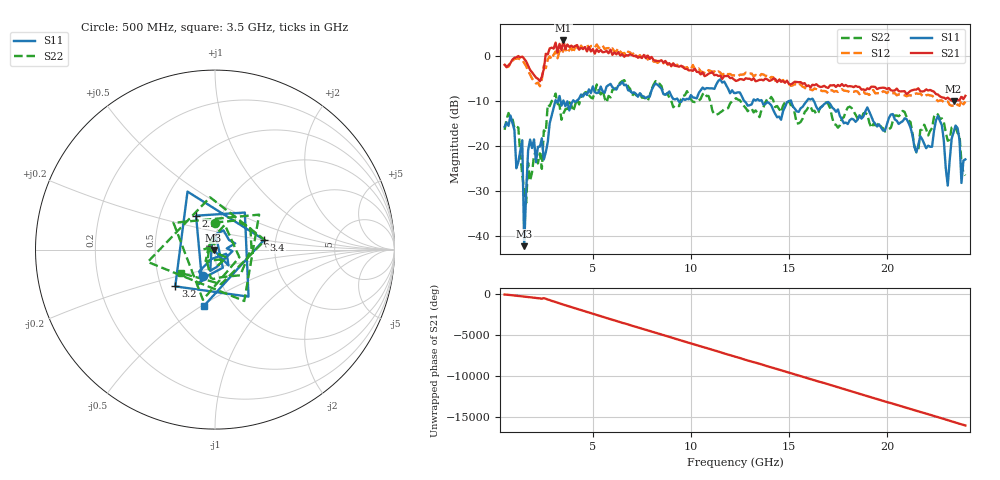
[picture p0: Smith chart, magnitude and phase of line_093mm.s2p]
!Created with skrf (http://scikit-rf.org).
# GHz S RI R 50.0
!freq ReS11 ImS11 ReS21 ImS21 ReS12 ImS12 ReS22 ImS22
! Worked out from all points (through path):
!   236 points, 500 MHz to 24 GHz, reference 50 ohm
!   highest |S21| = 3.39 dB at 3.5 GHz (marker M1); lowest = -10.1 dB at 23.4 GHz (marker M2)
!   lowest |S11| = -42.2 dB at 1.5 GHz (marker M3), VSWR 1.02, Z = 49.2 - j0.14 ohm
!   |S11| at or under -10 dB: start of sweep to 3.091 GHz; 13.62 GHz to 15.04 GHz (1.419 GHz wide, 9.91 % of centre); 16.26 GHz to end of sweep (the widest 3 of 10)
!   |S22| runs from -32.6 to -5.4 dB; largest |S21 - S12| = 2.6
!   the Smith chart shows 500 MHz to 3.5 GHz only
!   S11 on the Smith chart (normalised r, x): 500 MHz: 0.84, -0.26; 2.9 GHz: 0.76, +0.30; 3.2 GHz: 0.59, -0.27; 3.4 GHz: 1.74, +0.21; 3.5 GHz: 0.73, -0.51
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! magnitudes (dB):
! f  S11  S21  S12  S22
! 500 MHz  -15.7  -2.0  -1.9  -16.4
! 1.2 GHz  -23.5  -0.1  -0.6  -15.9
! 1.4 GHz  -18.7  -0.2  -1.0  -26.5
! 1.5 GHz  -42.2  -0.7  -1.6  -30.0
! 1.8 GHz  -18.6  -3.2  -4.2  -27.8
! 2.4 GHz  -18.3  -4.6  -5.2  -25.1
! 2.5 GHz  -23.0  -2.9  -2.2  -16.5
! 2.9 GHz  -13.3  1.8  -0.8  -10.1
! 3.2 GHz  -10.4  0.7  -0.6  -10.7
! 3.4 GHz  -11.1  1.2  0.4  -14.2
! 3.5 GHz  -9.9  3.4  1.1  -12.8
! 4.5 GHz  -9.0  1.5  1.7  -8.7
! 8.4 GHz  -6.8  -1.2  -1.3  -6.2
! 12.3 GHz  -8.3  -5.6  -4.4  -9.4
! 16.2 GHz  -9.5  -6.4  -7.7  -12.3
! 20.1 GHz  -13.8  -7.2  -7.9  -16.3
! 21.5 GHz  -21.4  -7.5  -8.4  -21.4
! 22.6 GHz  -13.3  -8.6  -10.1  -13.0
! 23.1 GHz  -28.8  -9.3  -10.1  -18.9
! 23.4 GHz  -16.9  -10.1  -11.0  -15.6
! 23.8 GHz  -28.2  -9.0  -9.9  -23.8
! 24 GHz  -23.0  -8.9  -10.2  -26.5
